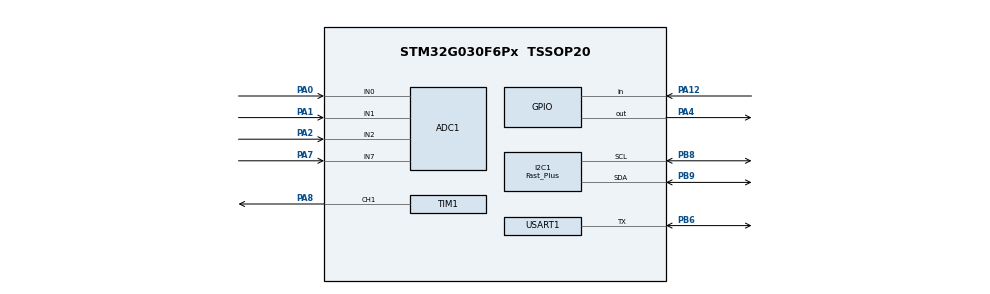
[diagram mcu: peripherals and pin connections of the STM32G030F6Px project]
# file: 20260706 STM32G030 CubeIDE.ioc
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ADC1.Channel-0\#ChannelRegularConversion=ADC_CHANNEL_VREFINT
ADC1.Channel-1\#ChannelRegularConversion=ADC_CHANNEL_TEMPSENSOR
ADC1.Channel-2\#ChannelRegularConversion=ADC_CHANNEL_7
ADC1.Channel-3\#ChannelRegularConversion=ADC_CHANNEL_0
ADC1.Channel-4\#ChannelRegularConversion=ADC_CHANNEL_1
ADC1.Channel-5\#ChannelRegularConversion=ADC_CHANNEL_2
ADC1.ContinuousConvMode=ENABLE
ADC1.DMAContinuousRequests=ENABLE
ADC1.EOCSelection=ADC_EOC_SEQ_CONV
ADC1.NbrOfConversion=6
ADC1.NbrOfConversionFlag=1
ADC1.Overrun=ADC_OVR_DATA_OVERWRITTEN
ADC1.OversamplingMode=ENABLE
ADC1.Rank-0\#ChannelRegularConversion=1
ADC1.Rank-1\#ChannelRegularConversion=2
ADC1.Rank-2\#ChannelRegularConversion=3
ADC1.Rank-3\#ChannelRegularConversion=4
ADC1.Rank-4\#ChannelRegularConversion=5
ADC1.Rank-5\#ChannelRegularConversion=6
ADC1.Ratio=ADC_OVERSAMPLING_RATIO_256
ADC1.RightBitShift=ADC_RIGHTBITSHIFT_4
ADC1.SamplingTime-0\#ChannelRegularConversion=ADC_SAMPLINGTIME_COMMON_1
ADC1.SamplingTime-1\#ChannelRegularConversion=ADC_SAMPLINGTIME_COMMON_1
ADC1.SamplingTime-2\#ChannelRegularConversion=ADC_SAMPLINGTIME_COMMON_1
ADC1.SamplingTime-3\#ChannelRegularConversion=ADC_SAMPLINGTIME_COMMON_1
ADC1.SamplingTime-4\#ChannelRegularConversion=ADC_SAMPLINGTIME_COMMON_1
ADC1.SamplingTime-5\#ChannelRegularConversion=ADC_SAMPLINGTIME_COMMON_1
ADC1.SamplingTimeCommon1=ADC_SAMPLETIME_39CYCLES_5
ADC1.SamplingTimeCommon2=ADC_SAMPLETIME_160CYCLES_5
ADC1.SelectedChannel=ADC_CHANNEL_0|ADC_CHANNEL_1|ADC_CHANNEL_2|ADC_CHANNEL_7|ADC_CHANNEL_TEMPSENSOR|ADC_CHANNEL_VREFINT
ADC1.master=1
Dma.ADC1.4.Direction=DMA_PERIPH_TO_MEMORY
Dma.ADC1.4.EventEnable=DISABLE
Dma.ADC1.4.Instance=DMA1_Channel5
Dma.ADC1.4.MemDataAlignment=DMA_MDATAALIGN_HALFWORD
Dma.ADC1.4.MemInc=DMA_MINC_ENABLE
Dma.ADC1.4.Mode=DMA_CIRCULAR
Dma.ADC1.4.PeriphDataAlignment=DMA_PDATAALIGN_HALFWORD
Dma.ADC1.4.PeriphInc=DMA_PINC_DISABLE
Dma.ADC1.4.Polarity=HAL_DMAMUX_REQ_GEN_RISING
Dma.ADC1.4.Priority=DMA_PRIORITY_MEDIUM
Dma.ADC1.4.RequestNumber=1
Dma.ADC1.4.SignalID=NONE
Dma.ADC1.4.SyncEnable=DISABLE
Dma.ADC1.4.SyncPolarity=HAL_DMAMUX_SYNC_NO_EVENT
Dma.ADC1.4.SyncRequestNumber=1
Dma.ADC1.4.SyncSignalID=NONE
Dma.I2C1_RX.2.Direction=DMA_PERIPH_TO_MEMORY
Dma.I2C1_RX.2.EventEnable=DISABLE
Dma.I2C1_RX.2.Instance=DMA1_Channel2
Dma.I2C1_RX.2.MemDataAlignment=DMA_MDATAALIGN_BYTE
Dma.I2C1_RX.2.MemInc=DMA_MINC_ENABLE
Dma.I2C1_RX.2.Mode=DMA_NORMAL
Dma.I2C1_RX.2.PeriphDataAlignment=DMA_PDATAALIGN_BYTE
Dma.I2C1_RX.2.PeriphInc=DMA_PINC_DISABLE
Dma.I2C1_RX.2.Polarity=HAL_DMAMUX_REQ_GEN_RISING
Dma.I2C1_RX.2.Priority=DMA_PRIORITY_HIGH
Dma.I2C1_RX.2.RequestNumber=1
Dma.I2C1_RX.2.SignalID=NONE
Dma.I2C1_RX.2.SyncEnable=DISABLE
Dma.I2C1_RX.2.SyncPolarity=HAL_DMAMUX_SYNC_NO_EVENT
Dma.I2C1_RX.2.SyncRequestNumber=1
Dma.I2C1_RX.2.SyncSignalID=NONE
Dma.I2C1_TX.3.Direction=DMA_MEMORY_TO_PERIPH
Dma.I2C1_TX.3.EventEnable=DISABLE
Dma.I2C1_TX.3.Instance=DMA1_Channel1
Dma.I2C1_TX.3.MemDataAlignment=DMA_MDATAALIGN_BYTE
Dma.I2C1_TX.3.MemInc=DMA_MINC_ENABLE
Dma.I2C1_TX.3.Mode=DMA_NORMAL
Dma.I2C1_TX.3.PeriphDataAlignment=DMA_PDATAALIGN_BYTE
Dma.I2C1_TX.3.PeriphInc=DMA_PINC_DISABLE
Dma.I2C1_TX.3.Polarity=HAL_DMAMUX_REQ_GEN_RISING
Dma.I2C1_TX.3.Priority=DMA_PRIORITY_HIGH
Dma.I2C1_TX.3.RequestNumber=1
Dma.I2C1_TX.3.SignalID=NONE
Dma.I2C1_TX.3.SyncEnable=DISABLE
Dma.I2C1_TX.3.SyncPolarity=HAL_DMAMUX_SYNC_NO_EVENT
Dma.I2C1_TX.3.SyncRequestNumber=1
Dma.I2C1_TX.3.SyncSignalID=NONE
Dma.Request0=USART1_RX
Dma.Request1=USART1_TX
Dma.Request2=I2C1_RX
Dma.Request3=I2C1_TX
Dma.Request4=ADC1
Dma.USART1_RX.0.Direction=DMA_PERIPH_TO_MEMORY
Dma.USART1_RX.0.EventEnable=DISABLE
Dma.USART1_RX.0.Instance=DMA1_Channel3
Dma.USART1_RX.0.MemDataAlignment=DMA_MDATAALIGN_BYTE
Dma.USART1_RX.0.MemInc=DMA_MINC_ENABLE
Dma.USART1_RX.0.Mode=DMA_NORMAL
Dma.USART1_RX.0.PeriphDataAlignment=DMA_PDATAALIGN_BYTE
Dma.USART1_RX.0.PeriphInc=DMA_PINC_DISABLE
Dma.USART1_RX.0.Polarity=HAL_DMAMUX_REQ_GEN_RISING
Dma.USART1_RX.0.Priority=DMA_PRIORITY_LOW
Dma.USART1_RX.0.RequestNumber=1
Dma.USART1_RX.0.SignalID=NONE
Dma.USART1_RX.0.SyncEnable=DISABLE
Dma.USART1_RX.0.SyncPolarity=HAL_DMAMUX_SYNC_NO_EVENT
Dma.USART1_RX.0.SyncRequestNumber=1
Dma.USART1_RX.0.SyncSignalID=NONE
Dma.USART1_TX.1.Direction=DMA_MEMORY_TO_PERIPH
Dma.USART1_TX.1.EventEnable=DISABLE
Dma.USART1_TX.1.Instance=DMA1_Channel4
Dma.USART1_TX.1.MemDataAlignment=DMA_MDATAALIGN_BYTE
Dma.USART1_TX.1.MemInc=DMA_MINC_ENABLE
Dma.USART1_TX.1.Mode=DMA_NORMAL
Dma.USART1_TX.1.PeriphDataAlignment=DMA_PDATAALIGN_BYTE
Dma.USART1_TX.1.PeriphInc=DMA_PINC_DISABLE
Dma.USART1_TX.1.Polarity=HAL_DMAMUX_REQ_GEN_RISING
Dma.USART1_TX.1.Priority=DMA_PRIORITY_LOW
Dma.USART1_TX.1.RequestNumber=1
Dma.USART1_TX.1.SignalID=NONE
Dma.USART1_TX.1.SyncEnable=DISABLE
Dma.USART1_TX.1.SyncPolarity=HAL_DMAMUX_SYNC_NO_EVENT
Dma.USART1_TX.1.SyncRequestNumber=1
Dma.USART1_TX.1.SyncSignalID=NONE
I2C1.I2C_Fall_Time=2
I2C1.I2C_Rise_Time=26
I2C1.I2C_Speed_Mode=I2C_Fast_Plus
I2C1.Timing=0x00100107
Mcu.Family=STM32G0
Mcu.Name=STM32G030F6Px
Mcu.Package=TSSOP20
NVIC.DMA1_Ch4_5_DMAMUX1_OVR_IRQn=true\:0\:0\:false\:false\:true\:false\:true\:true
NVIC.DMA1_Channel1_IRQn=true\:0\:0\:false\:false\:true\:false\:true\:true
NVIC.DMA1_Channel2_3_IRQn=true\:0\:0\:false\:false\:true\:false\:true\:true
NVIC.I2C1_IRQn=true\:0\:0\:false\:false\:true\:true\:true\:true
NVIC.USART1_IRQn=true\:0\:0\:false\:false\:true\:true\:true\:true
PA0.Mode=IN0
PA0.Signal=ADC1_IN0
PA1.Mode=IN1
PA1.Signal=ADC1_IN1
PA12\ [PA10].Signal=GPIO_Input
PA14-BOOT0__PA15.StandardMode=true
PA2.Mode=IN2
PA2.Signal=ADC1_IN2
PA4.Signal=GPIO_Output
PA7.Mode=IN7
PA7.Signal=ADC1_IN7
PA8.Signal=S_TIM1_CH1
PB0__PB1__PB2__PA8.StandardMode=true
PB3__PB4__PB5__PB6.StandardMode=true
PB6.GPIO_ModeDefaultOD=GPIO_MODE_AF_OD
PB6.Mode=Half_duplex(single_wire_mode)
PB6.Signal=USART1_TX
PB7__PB8.StandardMode=true
PB8.Mode=I2C
PB8.Signal=I2C1_SCL
PB9.Mode=I2C
PB9.Signal=I2C1_SDA
PC14-OSC32_IN\ (PC14)__PB9.StandardMode=true
ProjectManager.HeapSize=0x200
ProjectManager.StackSize=0x400
ProjectManager.TargetToolchain=STM32CubeIDE
RCC.ADCFreq_Value=16000000
RCC.AHBFreq_Value=16000000
RCC.CortexFreq_Value=16000000
RCC.EXTERNAL_CLOCK_VALUE=12288000
RCC.HCLKFreq_Value=16000000
RCC.HSE_VALUE=8000000
RCC.HSI_VALUE=16000000
RCC.LSE_VALUE=32768
RCC.SYSCLKFreq_VALUE=16000000
RCC.VCOOutputFreq_Value=128000000
SH.S_TIM1_CH1.0=TIM1_CH1,PWM Generation1 CH1
TIM1.AutoReloadPreload=TIM_AUTORELOAD_PRELOAD_DISABLE
TIM1.Channel-PWM\ Generation1\ CH1=TIM_CHANNEL_1
TIM1.Period=588
TIM1.Prescaler=0
TIM1.Pulse-PWM\ Generation1\ CH1=0
USART1.VirtualMode-Half_duplex(single_wire_mode)=VM_ASYNC
VP_ADC1_TempSens_Input.Mode=IN-TempSens
VP_ADC1_Vref_Input.Mode=IN-Vrefint
board=custom

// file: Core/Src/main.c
/* USER CODE BEGIN Header */
/**
  ******************************************************************************
  * @file           : main.c
  * @brief          : Main program body
  ******************************************************************************
  * @attention
  *
  * Copyright (c) 2026 STMicroelectronics.
  * All rights reserved.
  *
  * This software is licensed under terms that can be found in the LICENSE file
  * in the root directory of this software component.
  * If no LICENSE file comes with this software, it is provided AS-IS.
  *
  ******************************************************************************
  */
/* USER CODE END Header */
#include "main.h"

/* USER CODE BEGIN Includes */
#include "led_module.h"
#include "ds18b20_usart.h"
#include <sh1306_dma_i2c.h>
#include "power_module.h"
#include "button_module.h"

/* USER CODE END Includes */

/* USER CODE BEGIN PV */
unsigned long SystemCounter;
LL_RCC_ClocksTypeDef RCC_Clocks;
/* USER CODE END PV */

void SystemClock_Config(void);
static void MX_GPIO_Init(void);
static void MX_DMA_Init(void);
static void MX_USART1_UART_Init(void);
static void MX_I2C1_Init(void);
static void MX_ADC1_Init(void);
static void MX_TIM1_Init(void);

int main(void)
{

  /* MCU Configuration--------------------------------------------------------*/

  /* Reset of all peripherals, Initializes the Flash interface and the Systick. */
  LL_APB2_GRP1_EnableClock(LL_APB2_GRP1_PERIPH_SYSCFG);
  LL_APB1_GRP1_EnableClock(LL_APB1_GRP1_PERIPH_PWR);

  /* SysTick_IRQn interrupt configuration */
  NVIC_SetPriority(SysTick_IRQn, 3);

  /* Configure the system clock */
  SystemClock_Config();

  /* USER CODE BEGIN SysInit */
  LL_SYSTICK_EnableIT();
  /* USER CODE END SysInit */

  /* Initialize all configured peripherals */
  MX_GPIO_Init();
  MX_DMA_Init();
  MX_USART1_UART_Init();
  MX_I2C1_Init();
  MX_ADC1_Init();
  MX_TIM1_Init();
  /* USER CODE BEGIN 2 */

  LL_RCC_GetSystemClocksFreq(&RCC_Clocks);

//  LED_Init();
//  DS18B20_Init();
//  sensorCount = DS18B20_SearchAll();
  OLED_Init();
  POWER_Init();

  /* USER CODE END 2 */

  /* Infinite loop */
  /* USER CODE BEGIN WHILE */
//  uint32_t ledCounter = 0;

//  printf("OW_Reset: presence=%d\r\n", 10);

  while (1)
  {
//	  HAL_GPIO_TogglePin(GPIOB, GPIO_PIN_0);
//	  HAL_Delay(500);

//	  if(ledCounter < SystemCounter) {
//		  ledCounter = SystemCounter + 100;
//		  LED_TurnOn(LED1, 1);
//	  }

//	  if (HAL_GetTick() - ledCounter >= 500) {
//		  ledCounter = HAL_GetTick();
//		  LED_TurnOn(LED0, 450);
//	  }
    /* USER CODE END WHILE */

    /* USER CODE BEGIN 3 */

	  OLED_Processing();
//	  DS18B20_Processing();
	  LED_Processing();
  }
  /* USER CODE END 3 */
}

void SystemClock_Config(void)
{
  /* HSI configuration and activation */
  LL_RCC_HSI_Enable();
  while(LL_RCC_HSI_IsReady() != 1)
  {
  }

  /* Set AHB prescaler*/
  LL_RCC_SetAHBPrescaler(LL_RCC_SYSCLK_DIV_1);

  /* Sysclk activation on the HSI */
  LL_RCC_SetSysClkSource(LL_RCC_SYS_CLKSOURCE_HSI);
  while(LL_RCC_GetSysClkSource() != LL_RCC_SYS_CLKSOURCE_STATUS_HSI)
  {
  }

  /* Set APB1 prescaler*/
  LL_RCC_SetAPB1Prescaler(LL_RCC_APB1_DIV_1);

  LL_Init1msTick(16000000);

  /* Update CMSIS variable (which can be updated also through SystemCoreClockUpdate function) */
  LL_SetSystemCoreClock(16000000);
}

static void MX_ADC1_Init(void)
{

  LL_ADC_InitTypeDef ADC_InitStruct = {0};
  LL_ADC_REG_InitTypeDef ADC_REG_InitStruct = {0};

  LL_GPIO_InitTypeDef GPIO_InitStruct = {0};

  /* Peripheral clock enable */
  LL_APB2_GRP1_EnableClock(LL_APB2_GRP1_PERIPH_ADC);

  LL_IOP_GRP1_EnableClock(LL_IOP_GRP1_PERIPH_GPIOA);
  /**ADC1 GPIO Configuration
  PA0   ------> ADC1_IN0
  PA1   ------> ADC1_IN1
  PA2   ------> ADC1_IN2
  PA7   ------> ADC1_IN7
  */
  GPIO_InitStruct.Pin = LL_GPIO_PIN_0;
  GPIO_InitStruct.Mode = LL_GPIO_MODE_ANALOG;
  GPIO_InitStruct.Pull = LL_GPIO_PULL_NO;
  LL_GPIO_Init(GPIOA, &GPIO_InitStruct);

  GPIO_InitStruct.Pin = LL_GPIO_PIN_1;
  GPIO_InitStruct.Mode = LL_GPIO_MODE_ANALOG;
  GPIO_InitStruct.Pull = LL_GPIO_PULL_NO;
  LL_GPIO_Init(GPIOA, &GPIO_InitStruct);

  GPIO_InitStruct.Pin = LL_GPIO_PIN_2;
  GPIO_InitStruct.Mode = LL_GPIO_MODE_ANALOG;
  GPIO_InitStruct.Pull = LL_GPIO_PULL_NO;
  LL_GPIO_Init(GPIOA, &GPIO_InitStruct);

  GPIO_InitStruct.Pin = LL_GPIO_PIN_7;
  GPIO_InitStruct.Mode = LL_GPIO_MODE_ANALOG;
  GPIO_InitStruct.Pull = LL_GPIO_PULL_NO;
  LL_GPIO_Init(GPIOA, &GPIO_InitStruct);

  /* ADC1 DMA Init */

  /* ADC1 Init */
  LL_DMA_SetPeriphRequest(DMA1, LL_DMA_CHANNEL_5, LL_DMAMUX_REQ_ADC1);

  LL_DMA_SetDataTransferDirection(DMA1, LL_DMA_CHANNEL_5, LL_DMA_DIRECTION_PERIPH_TO_MEMORY);

  LL_DMA_SetChannelPriorityLevel(DMA1, LL_DMA_CHANNEL_5, LL_DMA_PRIORITY_MEDIUM);

  LL_DMA_SetMode(DMA1, LL_DMA_CHANNEL_5, LL_DMA_MODE_CIRCULAR);

  LL_DMA_SetPeriphIncMode(DMA1, LL_DMA_CHANNEL_5, LL_DMA_PERIPH_NOINCREMENT);

  LL_DMA_SetMemoryIncMode(DMA1, LL_DMA_CHANNEL_5, LL_DMA_MEMORY_INCREMENT);

  LL_DMA_SetPeriphSize(DMA1, LL_DMA_CHANNEL_5, LL_DMA_PDATAALIGN_HALFWORD);

  LL_DMA_SetMemorySize(DMA1, LL_DMA_CHANNEL_5, LL_DMA_MDATAALIGN_HALFWORD);

  /** Configure the global features of the ADC (Clock, Resolution, Data Alignment and number of conversion)
  */

   #define ADC_CHANNEL_CONF_RDY_TIMEOUT_MS ( 1U)
   #if (USE_TIMEOUT == 1)
   uint32_t Timeout ; /* Variable used for Timeout management */
   #endif /* USE_TIMEOUT */

  ADC_InitStruct.Clock = LL_ADC_CLOCK_SYNC_PCLK_DIV2;
  ADC_InitStruct.Resolution = LL_ADC_RESOLUTION_12B;
  ADC_InitStruct.DataAlignment = LL_ADC_DATA_ALIGN_RIGHT;
  ADC_InitStruct.LowPowerMode = LL_ADC_LP_MODE_NONE;
  LL_ADC_Init(ADC1, &ADC_InitStruct);
  LL_ADC_REG_SetSequencerConfigurable(ADC1, LL_ADC_REG_SEQ_CONFIGURABLE);

   /* Poll for ADC channel configuration ready */
   #if (USE_TIMEOUT == 1)
   Timeout = ADC_CHANNEL_CONF_RDY_TIMEOUT_MS;
   #endif /* USE_TIMEOUT */
   while (LL_ADC_IsActiveFlag_CCRDY(ADC1) == 0)
     {
   #if (USE_TIMEOUT == 1)
   /* Check Systick counter flag to decrement the time-out value */
   if (LL_SYSTICK_IsActiveCounterFlag())
     {
   if(Timeout-- == 0)
         {
   Error_Handler();
         }
     }
   #endif /* USE_TIMEOUT */
     }
   /* Clear flag ADC channel configuration ready */
   LL_ADC_ClearFlag_CCRDY(ADC1);
  ADC_REG_InitStruct.TriggerSource = LL_ADC_REG_TRIG_SOFTWARE;
  ADC_REG_InitStruct.SequencerLength = LL_ADC_REG_SEQ_SCAN_ENABLE_6RANKS;
  ADC_REG_InitStruct.ContinuousMode = LL_ADC_REG_CONV_CONTINUOUS;
  ADC_REG_InitStruct.DMATransfer = LL_ADC_REG_DMA_TRANSFER_UNLIMITED;
  ADC_REG_InitStruct.Overrun = LL_ADC_REG_OVR_DATA_OVERWRITTEN;
  LL_ADC_REG_Init(ADC1, &ADC_REG_InitStruct);
  LL_ADC_SetOverSamplingScope(ADC1, LL_ADC_OVS_GRP_REGULAR_CONTINUED);
  LL_ADC_ConfigOverSamplingRatioShift(ADC1, LL_ADC_OVS_RATIO_256, LL_ADC_OVS_SHIFT_RIGHT_4);
  LL_ADC_SetOverSamplingDiscont(ADC1, LL_ADC_OVS_REG_CONT);
  LL_ADC_SetTriggerFrequencyMode(ADC1, LL_ADC_CLOCK_FREQ_MODE_HIGH);
  LL_ADC_SetCommonPathInternalCh(__LL_ADC_COMMON_INSTANCE(ADC1), LL_ADC_PATH_INTERNAL_VREFINT|LL_ADC_PATH_INTERNAL_TEMPSENSOR);
  LL_ADC_SetSamplingTimeCommonChannels(ADC1, LL_ADC_SAMPLINGTIME_COMMON_1, LL_ADC_SAMPLINGTIME_39CYCLES_5);
  LL_ADC_SetSamplingTimeCommonChannels(ADC1, LL_ADC_SAMPLINGTIME_COMMON_2, LL_ADC_SAMPLINGTIME_160CYCLES_5);
  LL_ADC_DisableIT_EOC(ADC1);
  LL_ADC_DisableIT_EOS(ADC1);

   /* Enable ADC internal voltage regulator */
   LL_ADC_EnableInternalRegulator(ADC1);
   /* Delay for ADC internal voltage regulator stabilization. */
   /* Compute number of CPU cycles to wait for, from delay in us. */
   /* Note: Variable divided by 2 to compensate partially */
   /* CPU processing cycles (depends on compilation optimization). */
   /* Note: If system core clock frequency is below 200kHz, wait time */
   /* is only a few CPU processing cycles. */
   __IO uint32_t wait_loop_index;
   wait_loop_index = ((LL_ADC_DELAY_INTERNAL_REGUL_STAB_US * (SystemCoreClock / (100000 * 2))) / 10);
   while(wait_loop_index != 0)
     {
   wait_loop_index--;
     }

  /** Configure Regular Channel
  */
  LL_ADC_REG_SetSequencerRanks(ADC1, LL_ADC_REG_RANK_1, LL_ADC_CHANNEL_VREFINT);

   /* Poll for ADC channel configuration ready */
   #if (USE_TIMEOUT == 1)
   Timeout = ADC_CHANNEL_CONF_RDY_TIMEOUT_MS;
   #endif /* USE_TIMEOUT */
   while (LL_ADC_IsActiveFlag_CCRDY(ADC1) == 0)
     {
   #if (USE_TIMEOUT == 1)
   /* Check Systick counter flag to decrement the time-out value */
   if (LL_SYSTICK_IsActiveCounterFlag())
     {
   if(Timeout-- == 0)
         {
   Error_Handler();
         }
     }
   #endif /* USE_TIMEOUT */
     }
   /* Clear flag ADC channel configuration ready */
   LL_ADC_ClearFlag_CCRDY(ADC1);
  LL_ADC_SetChannelSamplingTime(ADC1, LL_ADC_CHANNEL_VREFINT, LL_ADC_SAMPLINGTIME_COMMON_1);

  /** Configure Regular Channel
  */
  LL_ADC_REG_SetSequencerRanks(ADC1, LL_ADC_REG_RANK_2, LL_ADC_CHANNEL_TEMPSENSOR);

   /* Poll for ADC channel configuration ready */
   #if (USE_TIMEOUT == 1)
   Timeout = ADC_CHANNEL_CONF_RDY_TIMEOUT_MS;
   #endif /* USE_TIMEOUT */
   while (LL_ADC_IsActiveFlag_CCRDY(ADC1) == 0)
     {
   #if (USE_TIMEOUT == 1)
   /* Check Systick counter flag to decrement the time-out value */
   if (LL_SYSTICK_IsActiveCounterFlag())
     {
   if(Timeout-- == 0)
         {
   Error_Handler();
         }
     }
   #endif /* USE_TIMEOUT */
     }
   /* Clear flag ADC channel configuration ready */
   LL_ADC_ClearFlag_CCRDY(ADC1);
  LL_ADC_SetChannelSamplingTime(ADC1, LL_ADC_CHANNEL_TEMPSENSOR, LL_ADC_SAMPLINGTIME_COMMON_1);

  /** Configure Regular Channel
  */
  LL_ADC_REG_SetSequencerRanks(ADC1, LL_ADC_REG_RANK_3, LL_ADC_CHANNEL_7);

   /* Poll for ADC channel configuration ready */
   #if (USE_TIMEOUT == 1)
   Timeout = ADC_CHANNEL_CONF_RDY_TIMEOUT_MS;
   #endif /* USE_TIMEOUT */
   while (LL_ADC_IsActiveFlag_CCRDY(ADC1) == 0)
     {
   #if (USE_TIMEOUT == 1)
   /* Check Systick counter flag to decrement the time-out value */
   if (LL_SYSTICK_IsActiveCounterFlag())
     {
   if(Timeout-- == 0)
         {
   Error_Handler();
         }
     }
   #endif /* USE_TIMEOUT */
     }
   /* Clear flag ADC channel configuration ready */
   LL_ADC_ClearFlag_CCRDY(ADC1);
  LL_ADC_SetChannelSamplingTime(ADC1, LL_ADC_CHANNEL_7, LL_ADC_SAMPLINGTIME_COMMON_1);

  /** Configure Regular Channel
  */
  LL_ADC_REG_SetSequencerRanks(ADC1, LL_ADC_REG_RANK_4, LL_ADC_CHANNEL_0);
  LL_ADC_SetChannelSamplingTime(ADC1, LL_ADC_CHANNEL_0, LL_ADC_SAMPLINGTIME_COMMON_1);

  /** Configure Regular Channel
  */
  LL_ADC_REG_SetSequencerRanks(ADC1, LL_ADC_REG_RANK_5, LL_ADC_CHANNEL_1);

   /* Poll for ADC channel configuration ready */
   #if (USE_TIMEOUT == 1)
   Timeout = ADC_CHANNEL_CONF_RDY_TIMEOUT_MS;
   #endif /* USE_TIMEOUT */
   while (LL_ADC_IsActiveFlag_CCRDY(ADC1) == 0)
     {
   #if (USE_TIMEOUT == 1)
   /* Check Systick counter flag to decrement the time-out value */
   if (LL_SYSTICK_IsActiveCounterFlag())
     {
   if(Timeout-- == 0)
         {
   Error_Handler();
         }
     }
   #endif /* USE_TIMEOUT */
     }
   /* Clear flag ADC channel configuration ready */
   LL_ADC_ClearFlag_CCRDY(ADC1);
  LL_ADC_SetChannelSamplingTime(ADC1, LL_ADC_CHANNEL_1, LL_ADC_SAMPLINGTIME_COMMON_1);

  /** Configure Regular Channel
  */
  LL_ADC_REG_SetSequencerRanks(ADC1, LL_ADC_REG_RANK_6, LL_ADC_CHANNEL_2);

   /* Poll for ADC channel configuration ready */
   #if (USE_TIMEOUT == 1)
   Timeout = ADC_CHANNEL_CONF_RDY_TIMEOUT_MS;
   #endif /* USE_TIMEOUT */
   while (LL_ADC_IsActiveFlag_CCRDY(ADC1) == 0)
     {
   #if (USE_TIMEOUT == 1)
   /* Check Systick counter flag to decrement the time-out value */
   if (LL_SYSTICK_IsActiveCounterFlag())
     {
   if(Timeout-- == 0)
         {
   Error_Handler();
         }
     }
   #endif /* USE_TIMEOUT */
     }
   /* Clear flag ADC channel configuration ready */
   LL_ADC_ClearFlag_CCRDY(ADC1);
  LL_ADC_SetChannelSamplingTime(ADC1, LL_ADC_CHANNEL_2, LL_ADC_SAMPLINGTIME_COMMON_1);
  /* USER CODE BEGIN ADC1_Init 2 */
  LL_DMA_EnableIT_TC(DMA1, LL_DMA_CHANNEL_5);
  LL_DMA_EnableIT_TE(DMA1, LL_DMA_CHANNEL_5);
  /* USER CODE END ADC1_Init 2 */

}

static void MX_I2C1_Init(void)
{

  LL_I2C_InitTypeDef I2C_InitStruct = {0};

  LL_GPIO_InitTypeDef GPIO_InitStruct = {0};

  LL_RCC_SetI2CClockSource(LL_RCC_I2C1_CLKSOURCE_PCLK1);

  LL_IOP_GRP1_EnableClock(LL_IOP_GRP1_PERIPH_GPIOB);
  /**I2C1 GPIO Configuration
  PB8   ------> I2C1_SCL
  PB9   ------> I2C1_SDA
  */
  GPIO_InitStruct.Pin = LL_GPIO_PIN_8;
  GPIO_InitStruct.Mode = LL_GPIO_MODE_ALTERNATE;
  GPIO_InitStruct.Speed = LL_GPIO_SPEED_FREQ_LOW;
  GPIO_InitStruct.OutputType = LL_GPIO_OUTPUT_OPENDRAIN;
  GPIO_InitStruct.Pull = LL_GPIO_PULL_NO;
  GPIO_InitStruct.Alternate = LL_GPIO_AF_6;
  LL_GPIO_Init(GPIOB, &GPIO_InitStruct);

  GPIO_InitStruct.Pin = LL_GPIO_PIN_9;
  GPIO_InitStruct.Mode = LL_GPIO_MODE_ALTERNATE;
  GPIO_InitStruct.Speed = LL_GPIO_SPEED_FREQ_LOW;
  GPIO_InitStruct.OutputType = LL_GPIO_OUTPUT_OPENDRAIN;
  GPIO_InitStruct.Pull = LL_GPIO_PULL_NO;
  GPIO_InitStruct.Alternate = LL_GPIO_AF_6;
  LL_GPIO_Init(GPIOB, &GPIO_InitStruct);

  /* Peripheral clock enable */
  LL_APB1_GRP1_EnableClock(LL_APB1_GRP1_PERIPH_I2C1);

  /* I2C1 DMA Init */

  /* I2C1_RX Init */
  LL_DMA_SetPeriphRequest(DMA1, LL_DMA_CHANNEL_2, LL_DMAMUX_REQ_I2C1_RX);

  LL_DMA_SetDataTransferDirection(DMA1, LL_DMA_CHANNEL_2, LL_DMA_DIRECTION_PERIPH_TO_MEMORY);

  LL_DMA_SetChannelPriorityLevel(DMA1, LL_DMA_CHANNEL_2, LL_DMA_PRIORITY_HIGH);

  LL_DMA_SetMode(DMA1, LL_DMA_CHANNEL_2, LL_DMA_MODE_NORMAL);

  LL_DMA_SetPeriphIncMode(DMA1, LL_DMA_CHANNEL_2, LL_DMA_PERIPH_NOINCREMENT);

  LL_DMA_SetMemoryIncMode(DMA1, LL_DMA_CHANNEL_2, LL_DMA_MEMORY_INCREMENT);

  LL_DMA_SetPeriphSize(DMA1, LL_DMA_CHANNEL_2, LL_DMA_PDATAALIGN_BYTE);

  LL_DMA_SetMemorySize(DMA1, LL_DMA_CHANNEL_2, LL_DMA_MDATAALIGN_BYTE);

  /* I2C1_TX Init */
  LL_DMA_SetPeriphRequest(DMA1, LL_DMA_CHANNEL_1, LL_DMAMUX_REQ_I2C1_TX);

  LL_DMA_SetDataTransferDirection(DMA1, LL_DMA_CHANNEL_1, LL_DMA_DIRECTION_MEMORY_TO_PERIPH);

  LL_DMA_SetChannelPriorityLevel(DMA1, LL_DMA_CHANNEL_1, LL_DMA_PRIORITY_HIGH);

  LL_DMA_SetMode(DMA1, LL_DMA_CHANNEL_1, LL_DMA_MODE_NORMAL);

  LL_DMA_SetPeriphIncMode(DMA1, LL_DMA_CHANNEL_1, LL_DMA_PERIPH_NOINCREMENT);

  LL_DMA_SetMemoryIncMode(DMA1, LL_DMA_CHANNEL_1, LL_DMA_MEMORY_INCREMENT);

  LL_DMA_SetPeriphSize(DMA1, LL_DMA_CHANNEL_1, LL_DMA_PDATAALIGN_BYTE);

  LL_DMA_SetMemorySize(DMA1, LL_DMA_CHANNEL_1, LL_DMA_MDATAALIGN_BYTE);

  /* I2C1 interrupt Init */
  NVIC_SetPriority(I2C1_IRQn, 0);
  NVIC_EnableIRQ(I2C1_IRQn);

  /* USER CODE BEGIN I2C1_Init 1 */
  LL_DMA_SetPeriphAddress(DMA1, LL_DMA_CHANNEL_1, LL_I2C_DMA_GetRegAddr(I2C1, LL_I2C_DMA_REG_DATA_TRANSMIT));
  /* USER CODE END I2C1_Init 1 */

  /** I2C Initialization
  */
  I2C_InitStruct.PeripheralMode = LL_I2C_MODE_I2C;
  I2C_InitStruct.Timing = 0x00100107;
  I2C_InitStruct.AnalogFilter = LL_I2C_ANALOGFILTER_ENABLE;
  I2C_InitStruct.DigitalFilter = 0;
  I2C_InitStruct.OwnAddress1 = 0;
  I2C_InitStruct.TypeAcknowledge = LL_I2C_ACK;
  I2C_InitStruct.OwnAddrSize = LL_I2C_OWNADDRESS1_7BIT;
  LL_I2C_Init(I2C1, &I2C_InitStruct);
  LL_I2C_EnableAutoEndMode(I2C1);
  LL_I2C_SetOwnAddress2(I2C1, 0, LL_I2C_OWNADDRESS2_NOMASK);
  LL_I2C_DisableOwnAddress2(I2C1);
  LL_I2C_DisableGeneralCall(I2C1);
  LL_I2C_EnableClockStretching(I2C1);

  /** I2C Fast mode Plus enable
  */
  LL_SYSCFG_EnableFastModePlus(LL_SYSCFG_I2C_FASTMODEPLUS_I2C1);

}

static void MX_TIM1_Init(void)
{

  LL_TIM_InitTypeDef TIM_InitStruct = {0};
  LL_TIM_OC_InitTypeDef TIM_OC_InitStruct = {0};
  LL_TIM_BDTR_InitTypeDef TIM_BDTRInitStruct = {0};

  LL_GPIO_InitTypeDef GPIO_InitStruct = {0};

  /* Peripheral clock enable */
  LL_APB2_GRP1_EnableClock(LL_APB2_GRP1_PERIPH_TIM1);

  TIM_InitStruct.Prescaler = 0;
  TIM_InitStruct.CounterMode = LL_TIM_COUNTERMODE_UP;
  TIM_InitStruct.Autoreload = 588;
  TIM_InitStruct.ClockDivision = LL_TIM_CLOCKDIVISION_DIV1;
  TIM_InitStruct.RepetitionCounter = 0;
  LL_TIM_Init(TIM1, &TIM_InitStruct);
  LL_TIM_DisableARRPreload(TIM1);
  LL_TIM_OC_EnablePreload(TIM1, LL_TIM_CHANNEL_CH1);
  TIM_OC_InitStruct.OCMode = LL_TIM_OCMODE_PWM1;
  TIM_OC_InitStruct.OCState = LL_TIM_OCSTATE_DISABLE;
  TIM_OC_InitStruct.OCNState = LL_TIM_OCSTATE_DISABLE;
  TIM_OC_InitStruct.CompareValue = 0;
  TIM_OC_InitStruct.OCPolarity = LL_TIM_OCPOLARITY_HIGH;
  TIM_OC_InitStruct.OCNPolarity = LL_TIM_OCPOLARITY_HIGH;
  TIM_OC_InitStruct.OCIdleState = LL_TIM_OCIDLESTATE_LOW;
  TIM_OC_InitStruct.OCNIdleState = LL_TIM_OCIDLESTATE_LOW;
  LL_TIM_OC_Init(TIM1, LL_TIM_CHANNEL_CH1, &TIM_OC_InitStruct);
  LL_TIM_OC_DisableFast(TIM1, LL_TIM_CHANNEL_CH1);
  LL_TIM_SetTriggerOutput(TIM1, LL_TIM_TRGO_RESET);
  LL_TIM_SetTriggerOutput2(TIM1, LL_TIM_TRGO2_RESET);
  LL_TIM_DisableMasterSlaveMode(TIM1);
  TIM_BDTRInitStruct.OSSRState = LL_TIM_OSSR_DISABLE;
  TIM_BDTRInitStruct.OSSIState = LL_TIM_OSSI_DISABLE;
  TIM_BDTRInitStruct.LockLevel = LL_TIM_LOCKLEVEL_OFF;
  TIM_BDTRInitStruct.DeadTime = 0;
  TIM_BDTRInitStruct.BreakState = LL_TIM_BREAK_DISABLE;
  TIM_BDTRInitStruct.BreakPolarity = LL_TIM_BREAK_POLARITY_HIGH;
  TIM_BDTRInitStruct.BreakFilter = LL_TIM_BREAK_FILTER_FDIV1;
  TIM_BDTRInitStruct.BreakAFMode = LL_TIM_BREAK_AFMODE_INPUT;
  TIM_BDTRInitStruct.Break2State = LL_TIM_BREAK2_DISABLE;
  TIM_BDTRInitStruct.Break2Polarity = LL_TIM_BREAK2_POLARITY_HIGH;
  TIM_BDTRInitStruct.Break2Filter = LL_TIM_BREAK2_FILTER_FDIV1;
  TIM_BDTRInitStruct.Break2AFMode = LL_TIM_BREAK_AFMODE_INPUT;
  TIM_BDTRInitStruct.AutomaticOutput = LL_TIM_AUTOMATICOUTPUT_DISABLE;
  LL_TIM_BDTR_Init(TIM1, &TIM_BDTRInitStruct);
  /* USER CODE BEGIN TIM1_Init 2 */

  LL_TIM_OC_SetMode(TIM1, LL_TIM_CHANNEL_CH1, LL_TIM_OCMODE_PWM1);
  LL_TIM_OC_EnablePreload(TIM1, LL_TIM_CHANNEL_CH1);

  LL_TIM_OC_SetCompareCH1(TIM1, 0);   // 50% заполнения, если ARR = 588
  LL_TIM_CC_EnableChannel(TIM1, LL_TIM_CHANNEL_CH1);
  LL_TIM_EnableAllOutputs(TIM1);
  LL_TIM_EnableCounter(TIM1);

  /* USER CODE END TIM1_Init 2 */
  LL_IOP_GRP1_EnableClock(LL_IOP_GRP1_PERIPH_GPIOA);
  /**TIM1 GPIO Configuration
  PA8   ------> TIM1_CH1
  */
  GPIO_InitStruct.Pin = LL_GPIO_PIN_8;
  GPIO_InitStruct.Mode = LL_GPIO_MODE_ALTERNATE;
  GPIO_InitStruct.Speed = LL_GPIO_SPEED_FREQ_LOW;
  GPIO_InitStruct.OutputType = LL_GPIO_OUTPUT_PUSHPULL;
  GPIO_InitStruct.Pull = LL_GPIO_PULL_NO;
  GPIO_InitStruct.Alternate = LL_GPIO_AF_2;
  LL_GPIO_Init(GPIOA, &GPIO_InitStruct);

}

static void MX_USART1_UART_Init(void)
{

  LL_USART_InitTypeDef USART_InitStruct = {0};

  LL_GPIO_InitTypeDef GPIO_InitStruct = {0};

  LL_RCC_SetUSARTClockSource(LL_RCC_USART1_CLKSOURCE_PCLK1);

  /* Peripheral clock enable */
  LL_APB2_GRP1_EnableClock(LL_APB2_GRP1_PERIPH_USART1);

  LL_IOP_GRP1_EnableClock(LL_IOP_GRP1_PERIPH_GPIOB);
  /**USART1 GPIO Configuration
  PB6   ------> USART1_TX
  */
  GPIO_InitStruct.Pin = LL_GPIO_PIN_6;
  GPIO_InitStruct.Mode = LL_GPIO_MODE_ALTERNATE;
  GPIO_InitStruct.Speed = LL_GPIO_SPEED_FREQ_LOW;
  GPIO_InitStruct.OutputType = LL_GPIO_OUTPUT_OPENDRAIN;
  GPIO_InitStruct.Pull = LL_GPIO_PULL_UP;
  GPIO_InitStruct.Alternate = LL_GPIO_AF_0;
  LL_GPIO_Init(GPIOB, &GPIO_InitStruct);

  /* USART1 DMA Init */

  /* USART1_RX Init */
  LL_DMA_SetPeriphRequest(DMA1, LL_DMA_CHANNEL_3, LL_DMAMUX_REQ_USART1_RX);

  LL_DMA_SetDataTransferDirection(DMA1, LL_DMA_CHANNEL_3, LL_DMA_DIRECTION_PERIPH_TO_MEMORY);

  LL_DMA_SetChannelPriorityLevel(DMA1, LL_DMA_CHANNEL_3, LL_DMA_PRIORITY_LOW);

  LL_DMA_SetMode(DMA1, LL_DMA_CHANNEL_3, LL_DMA_MODE_NORMAL);

  LL_DMA_SetPeriphIncMode(DMA1, LL_DMA_CHANNEL_3, LL_DMA_PERIPH_NOINCREMENT);

  LL_DMA_SetMemoryIncMode(DMA1, LL_DMA_CHANNEL_3, LL_DMA_MEMORY_INCREMENT);

  LL_DMA_SetPeriphSize(DMA1, LL_DMA_CHANNEL_3, LL_DMA_PDATAALIGN_BYTE);

  LL_DMA_SetMemorySize(DMA1, LL_DMA_CHANNEL_3, LL_DMA_MDATAALIGN_BYTE);

  /* USART1_TX Init */
  LL_DMA_SetPeriphRequest(DMA1, LL_DMA_CHANNEL_4, LL_DMAMUX_REQ_USART1_TX);

  LL_DMA_SetDataTransferDirection(DMA1, LL_DMA_CHANNEL_4, LL_DMA_DIRECTION_MEMORY_TO_PERIPH);

  LL_DMA_SetChannelPriorityLevel(DMA1, LL_DMA_CHANNEL_4, LL_DMA_PRIORITY_LOW);

  LL_DMA_SetMode(DMA1, LL_DMA_CHANNEL_4, LL_DMA_MODE_NORMAL);

  LL_DMA_SetPeriphIncMode(DMA1, LL_DMA_CHANNEL_4, LL_DMA_PERIPH_NOINCREMENT);

  LL_DMA_SetMemoryIncMode(DMA1, LL_DMA_CHANNEL_4, LL_DMA_MEMORY_INCREMENT);

  LL_DMA_SetPeriphSize(DMA1, LL_DMA_CHANNEL_4, LL_DMA_PDATAALIGN_BYTE);

  LL_DMA_SetMemorySize(DMA1, LL_DMA_CHANNEL_4, LL_DMA_MDATAALIGN_BYTE);

  /* USART1 interrupt Init */
  NVIC_SetPriority(USART1_IRQn, 0);
  NVIC_EnableIRQ(USART1_IRQn);

  /* USER CODE BEGIN USART1_Init 1 */
  LL_DMA_SetPeriphAddress (DMA1, LL_DMA_CHANNEL_3, LL_USART_DMA_GetRegAddr(USART1, LL_USART_DMA_REG_DATA_RECEIVE));
  LL_DMA_SetPeriphAddress(DMA1, LL_DMA_CHANNEL_4, LL_USART_DMA_GetRegAddr(USART1, LL_USART_DMA_REG_DATA_TRANSMIT));

  LL_DMA_EnableIT_TC(DMA1, LL_DMA_CHANNEL_3);
  LL_DMA_EnableIT_TE(DMA1, LL_DMA_CHANNEL_3);

  LL_DMA_EnableIT_TC(DMA1, LL_DMA_CHANNEL_4);
  LL_DMA_EnableIT_TE(DMA1, LL_DMA_CHANNEL_4);

  /* USER CODE END USART1_Init 1 */
  USART_InitStruct.PrescalerValue = LL_USART_PRESCALER_DIV1;
  USART_InitStruct.BaudRate = 115200;
  USART_InitStruct.DataWidth = LL_USART_DATAWIDTH_8B;
  USART_InitStruct.StopBits = LL_USART_STOPBITS_1;
  USART_InitStruct.Parity = LL_USART_PARITY_NONE;
  USART_InitStruct.TransferDirection = LL_USART_DIRECTION_TX_RX;
  USART_InitStruct.OverSampling = LL_USART_OVERSAMPLING_16;
  LL_USART_Init(USART1, &USART_InitStruct);
  LL_USART_SetTXFIFOThreshold(USART1, LL_USART_FIFOTHRESHOLD_1_8);
  LL_USART_SetRXFIFOThreshold(USART1, LL_USART_FIFOTHRESHOLD_1_8);
  LL_USART_DisableFIFO(USART1);
  LL_USART_ConfigHalfDuplexMode(USART1);

  LL_USART_Enable(USART1);

  /* Polling USART1 initialisation */
  while((!(LL_USART_IsActiveFlag_TEACK(USART1))) || (!(LL_USART_IsActiveFlag_REACK(USART1))))
  {
  }

}

static void MX_DMA_Init(void)
{

  /* Init with LL driver */
  /* DMA controller clock enable */
  LL_AHB1_GRP1_EnableClock(LL_AHB1_GRP1_PERIPH_DMA1);

  /* DMA interrupt init */
  /* DMA1_Channel1_IRQn interrupt configuration */
  NVIC_SetPriority(DMA1_Channel1_IRQn, 0);
  NVIC_EnableIRQ(DMA1_Channel1_IRQn);
  /* DMA1_Channel2_3_IRQn interrupt configuration */
  NVIC_SetPriority(DMA1_Channel2_3_IRQn, 0);
  NVIC_EnableIRQ(DMA1_Channel2_3_IRQn);
  /* DMA1_Ch4_5_DMAMUX1_OVR_IRQn interrupt configuration */
  NVIC_SetPriority(DMA1_Ch4_5_DMAMUX1_OVR_IRQn, 0);
  NVIC_EnableIRQ(DMA1_Ch4_5_DMAMUX1_OVR_IRQn);

}

static void MX_GPIO_Init(void)
{
  LL_GPIO_InitTypeDef GPIO_InitStruct = {0};

  /* GPIO Ports Clock Enable */
  LL_IOP_GRP1_EnableClock(LL_IOP_GRP1_PERIPH_GPIOB);
  LL_IOP_GRP1_EnableClock(LL_IOP_GRP1_PERIPH_GPIOA);

  /**/
  LL_GPIO_ResetOutputPin(GPIOA, LL_GPIO_PIN_4);

  /**/
  GPIO_InitStruct.Pin = LL_GPIO_PIN_4;
  GPIO_InitStruct.Mode = LL_GPIO_MODE_OUTPUT;
  GPIO_InitStruct.Speed = LL_GPIO_SPEED_FREQ_LOW;
  GPIO_InitStruct.OutputType = LL_GPIO_OUTPUT_PUSHPULL;
  GPIO_InitStruct.Pull = LL_GPIO_PULL_NO;
  LL_GPIO_Init(GPIOA, &GPIO_InitStruct);

  /**/
  GPIO_InitStruct.Pin = LL_GPIO_PIN_12;
  GPIO_InitStruct.Mode = LL_GPIO_MODE_INPUT;
  GPIO_InitStruct.Pull = LL_GPIO_PULL_NO;
  LL_GPIO_Init(GPIOA, &GPIO_InitStruct);

}

/* USER CODE BEGIN 4 */

/**********************************************************************
  * @brief  Фильтр Калмана
  * @param  None
  * @retval None
  ********************************************************************/
s16	FLT_Kalman(s16 val)
{
	static s16 K = 1000 *  0.95;		//0.5
	static s16 prev_val = 0;
	s16	result;

	result = (((K*val)+((1000-K)*prev_val))/1000);
	prev_val = val;
	return result;
}

/**********************************************************************
  * @brief  Фильтр Калмана на 2 значения.
  * Похож на экспоненциальный фильтрПокажи как поси
  * @param  None
  * @retval None
  ********************************************************************/
s32	KalmanFilter1(s32 val)
{
	static s32 K = 1;		// 1000/2 = 0.5
	static s32 prev_val = 0;
	s32	result;
	s32	result1;
	s32	result2;

//	result = (((K*val)+((1000000-K)*prev_val))/1000000);
	result1 = (K*val);
	result2 = ((10-K)*prev_val);
	result = (result1 + result2);
	result = result/10;

	prev_val = result;
	return result;
}

s32	KalmanFilter2(s32 val)
{
	static s32 K = 1;		// 1000/2 = 0.5
	static s32 prev_val = 0;
	s32	result;
	s32	result1;
	s32	result2;

//	result = (((K*val)+((1000000-K)*prev_val))/1000000);
	result1 = (K*val);
	result2 = ((10-K)*prev_val);
	result = (result1 + result2);
	result = result/10;

	prev_val = result;
	return result;
}

s32	KalmanFilter3(s32 val)
{
	static s32 K = 1;		// 1000/2 = 0.5
	static s32 prev_val = 0;
	s32	result;
	s32	result1;
	s32	result2;

//	result = (((K*val)+((1000000-K)*prev_val))/1000000);
	result1 = (K*val);
	result2 = ((10-K)*prev_val);
	result = (result1 + result2);
	result = result/10;

	prev_val = result;
	return result;
}

s32	KalmanFilter4(s32 val)
{
	static s32 K = 1;		// 1000/2 = 0.5
	static s32 prev_val = 0;
	s32	result;
	s32	result1;
	s32	result2;

//	result = (((K*val)+((1000000-K)*prev_val))/1000000);
	result1 = (K*val);
	result2 = ((10-K)*prev_val);
	result = (result1 + result2);
	result = result/10;

	prev_val = result;
	return result;
}

s32	KalmanFilter5(s32 val)
{
	static s32 K = 1;		// 1000/2 = 0.5
	static s32 prev_val = 0;
	s32	result;
	s32	result1;
	s32	result2;

//	result = (((K*val)+((1000000-K)*prev_val))/1000000);
	result1 = (K*val);
	result2 = ((10-K)*prev_val);
	result = (result1 + result2);
	result = result/10;

	prev_val = result;
	return result;
}

s32	KalmanFilter6(s32 val)
{
	static s32 K = 1;		// 1000/2 = 0.5
	static s32 prev_val = 0;
	s32	result;
	s32	result1;
	s32	result2;

//	result = (((K*val)+((1000000-K)*prev_val))/1000000);
	result1 = (K*val);
	result2 = ((10-K)*prev_val);
	result = (result1 + result2);
	result = result/10;

	prev_val = result;
	return result;
}

/**********************************************************************
  * @brief  delay us
  * @param  None
  * @retval None
  ********************************************************************/
void delayUs(unsigned int time)
{
	time = time*4;
	while(time--)
 	 {
 	 }
}

/* USER CODE END 4 */

void Error_Handler(void)
{
  __disable_irq();
  while (1)
  {
  }
}
